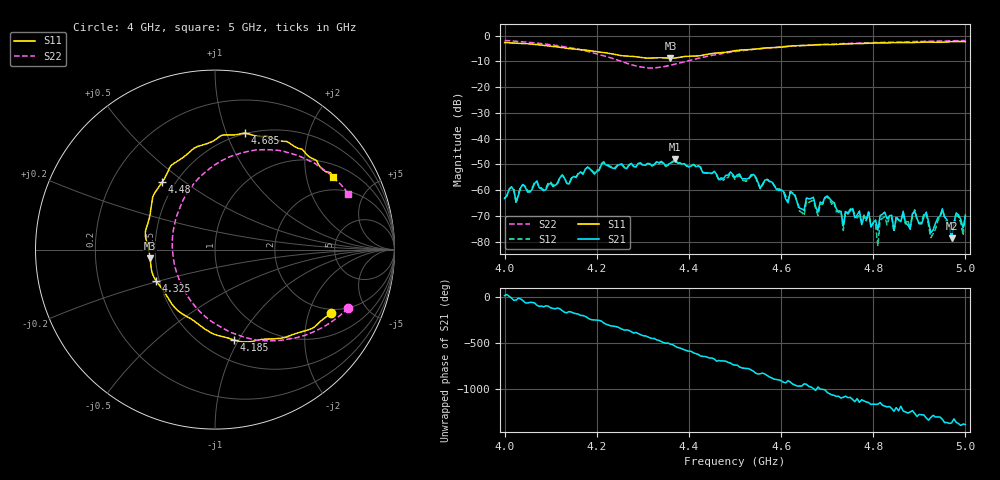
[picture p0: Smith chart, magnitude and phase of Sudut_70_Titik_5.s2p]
# Hz S RI R 50
! CMT, C1220, 16058040, 17.2.0/1
! Date: 15/08/2018 12:19:06
! Data: Format (Calibration Info)
! Freq  S11: Re/Im (F2)  S21: Re/Im (F2)  S12: Re/Im (F2)  S22: Re/Im (F2)
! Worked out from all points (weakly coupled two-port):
!   201 points, 4 GHz to 5 GHz, reference 50 ohm
!   highest |S21| = -47.94 dB at 4.37 GHz (marker M1); lowest = -78.7 dB at 4.97 GHz (marker M2)
!   lowest |S11| = -8.8 dB at 4.36 GHz (marker M3), VSWR 2.15, Z = 23.4 - j2.64 ohm
!   |S11| at or under -10 dB: nowhere
!   |S22| runs from -12.5 to -1.8 dB; largest |S21 - S12| = 0.00021
!   S11 on the Smith chart (normalised r, x): 4 GHz: 1.83, -2.85; 4.185 GHz: 0.70, -0.95; 4.325 GHz: 0.48, -0.19; 4.48 GHz: 0.43, +0.42; 4.685 GHz: 0.50, +1.17; 5 GHz: 1.43, +2.86
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4e9  0.6489 -0.3529  0.000678 0.000144  0.000662 0.000207  0.7408 -0.326
4.17e9  0.1499 -0.5136  -0.00184 0.000883  -0.0019 0.000841  0.1738 -0.4909
4.185e9  0.1036 -0.5033  -0.00105 0.00238  -0.00111 0.0024  0.1124 -0.4702
4.325e9  -0.3285 -0.1732  -0.000293 -0.00321  -0.000352 -0.0031  -0.2376 0.00384
4.335e9  -0.3451 -0.1427  -0.00154 -0.00303  -0.00156 -0.00284  -0.2382 0.0464
4.36e9  -0.3613 -0.0489  -0.00313 -0.00127  -0.00308 -0.00124  -0.2248 0.1445
4.37e9  -0.369 -0.00357  -0.00401 -3.54e-05  -0.00392 -5.62e-05  -0.2155 0.1799
4.48e9  -0.2936 0.3767  0.00185 0.000582  0.00168 0.000459  -0.0149 0.4621
4.5e9  -0.2592 0.4411  0.0016 -0.000739  0.00147 -0.000688  0.03 0.4916
4.67e9  0.1417 0.6449  0.000127 0.000721  0.000149 0.000612  0.3764 0.5482
4.685e9  0.1688 0.6488  0.000172 0.000563  7.81e-05 0.000525  0.4023 0.5418
4.715e9  0.2377 0.6313  0.000562 5.73e-05  0.000585 0.000127  0.4499 0.5281
4.735e9  0.2832 0.6305  0.000192 -5.39e-05  0.00016 -4e-05  0.4766 0.5182
4.74e9  0.2913 0.63  0.000386 -2.04e-05  0.000398 1.77e-05  0.4832 0.515
4.79e9  0.391 0.6032  0.000111 -0.000356  9.44e-05 -0.00037  0.5487 0.4842
4.81e9  0.4141 0.5944  -1.77e-06 -0.000168  1.93e-05 -7.96e-05  0.5702 0.4702
4.835e9  0.458 0.5666  -0.000135 -0.000288  -0.000118 -0.000279  0.5985 0.4507
4.915e9  0.5637 0.4982  -0.000192 0.000322  -0.000152 0.000322  0.6755 0.3863
4.925e9  0.5697 0.4887  -8.69e-05 0.000121  -4.6e-05 0.000111  0.6851 0.3781
4.95e9  0.603 0.4433  -0.000113 0.000421  -3.82e-05 0.000401  0.7057 0.3567
4.97e9  0.6358 0.4306  4.83e-05 0.000105  2.63e-05 0.000114  0.7213 0.34
5e9  0.6551 0.4064  0.000209 0.000235  0.000165 0.000302  0.7436 0.3106
